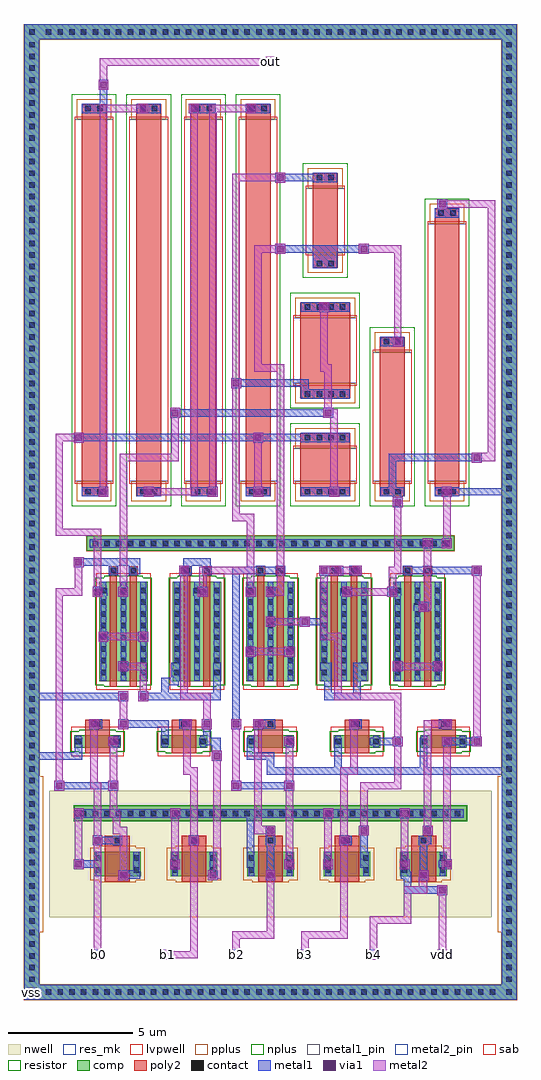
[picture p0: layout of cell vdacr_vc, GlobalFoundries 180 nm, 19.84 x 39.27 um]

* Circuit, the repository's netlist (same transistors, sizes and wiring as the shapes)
* NGSPICE file created from vdacr_vc.ext - technology: gf180mcuD

.subckt r_w2_l1p315 a_n200_n254# a_n200_132# VSUBS
X0 a_n200_132# a_n200_n254# VSUBS ppolyf_u_1k r_width=2u r_length=1.32u
.ends

.subckt r_w2_l2p625 a_n200_n385# a_n200_263# VSUBS
X0 a_n200_263# a_n200_n385# VSUBS ppolyf_u_1k r_width=2u r_length=2.63u
.ends

.subckt r_w1_l5p175 a_n100_518# a_n100_n640# VSUBS
X0 a_n100_518# a_n100_n640# VSUBS ppolyf_u_1k r_width=1u r_length=5.18u
.ends

.subckt r_w1_l2p59 a_n100_n381# a_n100_259# VSUBS
X0 a_n100_259# a_n100_n381# VSUBS ppolyf_u_1k r_width=1u r_length=2.59u
.ends

.subckt r_w1_l10p35 a_n100_n1157# a_n100_1035# VSUBS
X0 a_n100_1035# a_n100_n1157# VSUBS ppolyf_u_1k r_width=1u r_length=10.35u
.ends

.subckt n_w0p5_l1 a_100_n50# a_n100_n94# a_n188_n50# VSUBS
X0 a_100_n50# a_n100_n94# a_n188_n50# VSUBS nfet_03v3 ad=0.22p pd=1.88u as=0.22p ps=1.88u w=0.5u l=1u
.ends

.subckt p_w1_l1 a_n188_n100# a_100_n100# a_n100_n144# w_n274_n230#
X0 a_100_n100# a_n100_n144# a_n188_n100# w_n274_n230# pfet_03v3 ad=0.44p pd=2.88u as=0.44p ps=2.88u w=1u l=1u
.ends

.subckt r_w1_l12p86 a_n100_n1408# a_n100_1286# VSUBS
X0 a_n100_1286# a_n100_n1408# VSUBS ppolyf_u_1k r_width=1u r_length=12.86u
.ends

.subckt n_w4_l0p28_f2 a_n52_n400# a_52_n444# a_108_n400# a_n108_n444# a_n196_n400#
+ VSUBS
X0 a_108_n400# a_52_n444# a_n52_n400# VSUBS nfet_03v3 ad=1.76p pd=8.88u as=1.04p ps=4.52u w=4u l=0.28u
X1 a_n52_n400# a_n108_n444# a_n196_n400# VSUBS nfet_03v3 ad=1.04p pd=4.52u as=1.76p ps=8.88u w=4u l=0.28u
.ends

.subckt vdacr_vc b0 b1 b2 b3 b4 vdd out vss
XXRS0 m1_756_2640# m1_596_3240# vss r_w2_l1p315
XXRS1 m1_1663_4920# m1_756_2640# vss r_w2_l2p625
XXRS3 m1_2382_2650# m1_2964_2640# vss r_w1_l5p175
XXRS2 m1_2382_2650# m1_1663_4920# vss r_w1_l2p59
XXRS4 vss m1_2964_2640# vss r_w1_l10p35
XIB4n a_3048_3416# b4 vss vss n_w0p5_l1
XIB3n a_2456_3416# b3 vss vss n_w0p5_l1
XIB4p vdd a_3048_3416# b4 vdd p_w1_l1
XIB2n a_1864_3416# b2 vss vss n_w0p5_l1
XIB3p vdd a_2456_3416# b3 vdd p_w1_l1
XIB2p vdd a_1864_3416# b2 vdd p_w1_l1
XIB1n a_1272_3416# b1 vss vss n_w0p5_l1
XIB0n a_680_3416# b0 vss vss n_w0p5_l1
XIB1p vdd a_1272_3416# b1 vdd p_w1_l1
XIB0p vdd a_680_3416# b0 vdd p_w1_l1
XXRB0 m1_240_4046# out vss r_w1_l12p86
XSW0 m1_756_2640# a_680_3416# m1_596_3240# a_680_3416# m1_596_3240# vss n_w4_l0p28_f2
XXRB1 m1_902_4048# m1_240_4046# vss r_w1_l12p86
XSW2 m1_2382_2650# a_1864_3416# m1_1663_4920# a_1864_3416# m1_1663_4920# vss n_w4_l0p28_f2
XSW1 m1_1663_4920# a_1272_3416# m1_756_2640# a_1272_3416# m1_756_2640# vss n_w4_l0p28_f2
XXRB3 m1_596_3240# m1_1342_4048# vss r_w1_l12p86
XXRB2 m1_1342_4048# m1_902_4048# vss r_w1_l12p86
XSW3 m1_2964_2640# a_2456_3416# m1_2382_2650# a_2456_3416# m1_2382_2650# vss n_w4_l0p28_f2
XSW4 vss a_3048_3416# m1_2964_2640# a_3048_3416# m1_2964_2640# vss n_w4_l0p28_f2
.ends

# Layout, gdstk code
import gdstk
lib = gdstk.Library(unit=1e-6, precision=1e-09)
def R(c, l, rs):  # rectangles x0, y0, x1, y1
    for r in rs: c.add(gdstk.rectangle(r[:2], r[2:], *l))
def A(c, l, x, y, w, h, nx, ny, dx, dy):  # array of equal rectangles
    R(c, l, [(x+i*dx, y+j*dy, x+i*dx+w, y+j*dy+h) for i in range(nx) for j in range(ny)])
nwell = (21, 0)
comp = (22, 0)
poly2 = (30, 0)
pplus = (31, 0)
nplus = (32, 0)
contact = (33, 0)
metal1 = (34, 0)
metal1_pin = (34, 10)
via1 = (35, 0)
metal2 = (36, 0)
metal2_pin = (36, 10)
sab = (49, 0)
resistor = (62, 0)
res_mk = (110, 5)
lvpwell = (204, 0)

p_w1_l1 = lib.new_cell('p_w1_l1')
R(p_w1_l1, nwell, [(-1.37,-1.15,1.37,1.15)])
R(p_w1_l1, comp, [(-0.94,-0.5,0.94,0.5)])
R(p_w1_l1, poly2, [(-0.5,-0.72,0.5,0.72)])
R(p_w1_l1, pplus, [(-0.73,-0.73,0.73,-0.66), (-1.1,-0.66,1.1,0.66), (-0.73,0.66,0.73,0.73)])
R(p_w1_l1, contact, [(-0.87,-0.345,-0.65,-0.125), (0.65,-0.345,0.87,-0.125), (-0.87,0.125,-0.65,0.345), (0.65,0.125,0.87,0.345)])
R(p_w1_l1, metal1, [(-0.875,-0.49,-0.645,0.49), (0.645,-0.49,0.875,0.49)])

n_w0p5_l1 = lib.new_cell('n_w0p5_l1')
R(n_w0p5_l1, comp, [(-0.94,-0.25,0.94,0.25)])
R(n_w0p5_l1, poly2, [(-0.5,-0.47,0.5,0.47)])
R(n_w0p5_l1, nplus, [(-0.73,-0.48,0.73,-0.41), (-1.1,-0.41,1.1,0.41), (-0.73,0.41,0.73,0.48)])
R(n_w0p5_l1, contact, [(-0.87,-0.11,-0.65,0.11), (0.65,-0.11,0.87,0.11)])
R(n_w0p5_l1, metal1, [(-0.875,-0.24,-0.645,0.24), (0.645,-0.24,0.875,0.24)])
R(n_w0p5_l1, lvpwell, [(-1.06,-0.59,1.06,0.59)])

n_w4_l0p28_f2 = lib.new_cell('n_w4_l0p28_f2')
R(n_w4_l0p28_f2, comp, [(-0.98,-2,0.98,2)])
R(n_w4_l0p28_f2, poly2, [(-0.54,-2.22,-0.26,2.22), (0.26,-2.22,0.54,2.22)])
R(n_w4_l0p28_f2, nplus, [(-0.77,-2.23,0.77,-2.16), (-1.14,-2.16,1.14,2.16), (-0.77,2.16,0.77,2.23)])
A(n_w4_l0p28_f2, contact, -0.91, -1.755, 0.22, 0.22, 3, 8, 0.8, 0.47)
A(n_w4_l0p28_f2, metal1, -0.915, -1.99, 0.23, 3.98, 3, 1, 0.8, 0)
R(n_w4_l0p28_f2, lvpwell, [(-1.1,-2.34,1.1,2.34)])

r_w1_l14p555 = lib.new_cell('r_w1_l14p555')
R(r_w1_l14p555, poly2, [(-0.5,-7.89,0.5,7.89)])
R(r_w1_l14p555, pplus, [(-0.7,-8.09,0.7,-7.28), (-0.7,7.28,0.7,8.09)])
R(r_w1_l14p555, contact, [(-0.345,-7.82,-0.125,-7.6), (0.125,-7.82,0.345,-7.6), (-0.345,7.6,-0.125,7.82), (0.125,7.6,0.345,7.82)])
R(r_w1_l14p555, metal1, [(-0.49,-7.825,0.49,-7.595), (-0.49,7.595,0.49,7.825)])
R(r_w1_l14p555, sab, [(-0.78,-7.38,0.78,7.38), (-0.78,-7.28,0.78,7.28)])
R(r_w1_l14p555, resistor, [(-0.9,-8.29,0.9,8.29)])
R(r_w1_l14p555, res_mk, [(-0.78,-7.28,0.78,7.28), (-0.5,-7.28,0.5,7.28)])

r_w2_l1p315 = lib.new_cell('r_w2_l1p315')
R(r_w2_l1p315, poly2, [(-1,-1.27,1,1.27)])
R(r_w2_l1p315, pplus, [(-1.2,-1.47,1.2,-0.66), (-1.2,0.66,1.2,1.47)])
A(r_w2_l1p315, contact, -0.815, -1.2, 0.22, 0.22, 4, 2, 0.47, 2.18)
R(r_w2_l1p315, metal1, [(-0.99,-1.205,0.99,-0.975), (-0.99,0.975,0.99,1.205)])
R(r_w2_l1p315, sab, [(-1.28,-0.76,1.28,0.76), (-1.28,-0.66,1.28,0.66)])
R(r_w2_l1p315, resistor, [(-1.4,-1.67,1.4,1.67)])
R(r_w2_l1p315, res_mk, [(-1.28,-0.66,1.28,0.66), (-1,-0.66,1,0.66)])

r_w2_l2p625 = lib.new_cell('r_w2_l2p625')
R(r_w2_l2p625, poly2, [(-1,-1.925,1,1.925)])
R(r_w2_l2p625, pplus, [(-1.2,-2.125,1.2,-1.315), (-1.2,1.315,1.2,2.125)])
A(r_w2_l2p625, contact, -0.815, -1.855, 0.22, 0.22, 4, 2, 0.47, 3.49)
R(r_w2_l2p625, metal1, [(-0.99,-1.86,0.99,-1.63), (-0.99,1.63,0.99,1.86)])
R(r_w2_l2p625, sab, [(-1.28,-1.415,1.28,1.415), (-1.28,-1.315,1.28,1.315)])
R(r_w2_l2p625, resistor, [(-1.4,-2.325,1.4,2.325)])
R(r_w2_l2p625, res_mk, [(-1.28,-1.315,1.28,1.315), (-1,-1.315,1,1.315)])

r_w1_l2p59 = lib.new_cell('r_w1_l2p59')
R(r_w1_l2p59, poly2, [(-0.5,-1.905,0.5,1.905)])
R(r_w1_l2p59, pplus, [(-0.7,-2.105,0.7,-1.295), (-0.7,1.295,0.7,2.105)])
R(r_w1_l2p59, contact, [(-0.345,-1.835,-0.125,-1.615), (0.125,-1.835,0.345,-1.615), (-0.345,1.615,-0.125,1.835), (0.125,1.615,0.345,1.835)])
R(r_w1_l2p59, metal1, [(-0.49,-1.84,0.49,-1.61), (-0.49,1.61,0.49,1.84)])
R(r_w1_l2p59, sab, [(-0.78,-1.395,0.78,1.395), (-0.78,-1.295,0.78,1.295)])
R(r_w1_l2p59, resistor, [(-0.9,-2.305,0.9,2.305)])
R(r_w1_l2p59, res_mk, [(-0.78,-1.295,0.78,1.295), (-0.5,-1.295,0.5,1.295)])

r_w1_l5p175 = lib.new_cell('r_w1_l5p175')
R(r_w1_l5p175, poly2, [(-0.5,-3.2,0.5,3.2)])
R(r_w1_l5p175, pplus, [(-0.7,-3.4,0.7,-2.59), (-0.7,2.59,0.7,3.4)])
R(r_w1_l5p175, contact, [(-0.345,-3.13,-0.125,-2.91), (0.125,-3.13,0.345,-2.91), (-0.345,2.91,-0.125,3.13), (0.125,2.91,0.345,3.13)])
R(r_w1_l5p175, metal1, [(-0.49,-3.135,0.49,-2.905), (-0.49,2.905,0.49,3.135)])
R(r_w1_l5p175, sab, [(-0.78,-2.69,0.78,2.69), (-0.78,-2.59,0.78,2.59)])
R(r_w1_l5p175, resistor, [(-0.9,-3.6,0.9,3.6)])
R(r_w1_l5p175, res_mk, [(-0.78,-2.59,0.78,2.59), (-0.5,-2.59,0.5,2.59)])

r_w1_l10p35 = lib.new_cell('r_w1_l10p35')
R(r_w1_l10p35, poly2, [(-0.5,-5.785,0.5,5.785)])
R(r_w1_l10p35, pplus, [(-0.7,-5.985,0.7,-5.175), (-0.7,5.175,0.7,5.985)])
R(r_w1_l10p35, contact, [(-0.345,-5.715,-0.125,-5.495), (0.125,-5.715,0.345,-5.495), (-0.345,5.495,-0.125,5.715), (0.125,5.495,0.345,5.715)])
R(r_w1_l10p35, metal1, [(-0.49,-5.72,0.49,-5.49), (-0.49,5.49,0.49,5.72)])
R(r_w1_l10p35, sab, [(-0.78,-5.275,0.78,5.275), (-0.78,-5.175,0.78,5.175)])
R(r_w1_l10p35, resistor, [(-0.9,-6.185,0.9,6.185)])
R(r_w1_l10p35, res_mk, [(-0.78,-5.175,0.78,5.175), (-0.5,-5.175,0.5,5.175)])

vdacr_vc = lib.new_cell('vdacr_vc')
R(vdacr_vc, nwell, [(1,3.3,18.8,8.39)])
R(vdacr_vc, comp, [(0,0,19.8,0.6), (0,0.6,0.6,38.63), (19.2,0.6,19.8,38.63), (2,7.19,17.8,7.79), (2.5,18.05,17.3,18.65), (0,38.63,19.8,39.23)])
A(vdacr_vc, poly2, 3.24, 5.95, 1, 0.63, 5, 1, 3.08, 0)
A(vdacr_vc, poly2, 2.44, 10.63, 1, 0.63, 5, 1, 3.48, 0)
R(vdacr_vc, poly2, [(3.44,16.81,3.72,17.08), (4.24,16.81,4.52,17.08), (6.4,16.81,6.68,17.08), (7.2,16.81,7.48,17.08), (9.36,16.81,9.64,17.08), (10.16,16.81,10.44,17.08), (12.32,16.81,12.6,17.08), (13.12,16.81,13.4,17.08), (15.28,16.81,15.56,17.08), (16.08,16.81,16.36,17.08), (3.4,17.08,3.76,17.44), (4.2,17.08,4.56,17.44), (6.36,17.08,6.72,17.44), (7.16,17.08,7.52,17.44), (9.32,17.08,9.68,17.44), (10.12,17.08,10.48,17.44), (12.28,17.08,12.64,17.44), (13.08,17.08,13.44,17.44), (15.24,17.08,15.6,17.44), (16.04,17.08,16.4,17.44)])
R(vdacr_vc, pplus, [(-0.02,-0.02,19.82,0.62), (-0.02,0.62,0.62,2.71), (19.18,0.62,19.82,2.71), (-0.02,2.71,0.76,8.98), (19.04,2.71,19.82,8.98), (-0.02,8.98,0.62,38.61), (19.18,8.98,19.82,38.61), (2.48,18.03,17.32,18.67), (-0.02,38.61,19.82,39.25)])
R(vdacr_vc, nplus, [(1.98,7.17,17.82,7.81)])
A(vdacr_vc, contact, 0.86, 0.19, 0.22, 0.22, 39, 2, 0.47, 38.63)
A(vdacr_vc, contact, 0.19, 0.705, 0.22, 0.22, 1, 81, 0, 0.47)
A(vdacr_vc, contact, 19.39, 0.705, 0.22, 0.22, 1, 81, 0, 0.47)
A(vdacr_vc, contact, 3.63, 6.29, 0.22, 0.22, 5, 1, 3.08, 0)
A(vdacr_vc, contact, 2.27, 7.38, 0.22, 0.22, 33, 1, 0.47, 0)
A(vdacr_vc, contact, 2.83, 10.97, 0.22, 0.22, 5, 1, 3.48, 0)
A(vdacr_vc, contact, 2.74, 18.24, 0.22, 0.22, 31, 1, 0.47, 0)
R(vdacr_vc, contact, [(0.19,0.19,0.41,0.41), (19.39,0.19,19.61,0.41), (3.47,17.15,3.69,17.37), (4.27,17.15,4.49,17.37), (6.43,17.15,6.65,17.37), (7.23,17.15,7.45,17.37), (9.39,17.15,9.61,17.37), (10.19,17.15,10.41,17.37), (12.35,17.15,12.57,17.37), (13.15,17.15,13.37,17.37), (15.31,17.15,15.53,17.37), (16.11,17.15,16.33,17.37), (0.19,38.82,0.41,39.04), (19.39,38.82,19.61,39.04)])
R(vdacr_vc, metal1, [(0,0,19.8,0.6), (0,0.6,0.6,9.65), (19.2,0.6,19.8,9.05), (16.615,4.2,17.015,4.25), (15.27,4.25,17.015,4.55), (15.27,4.55,15.57,4.85), (16.615,4.55,17.015,4.6), (3.78,4.8,4.18,4.85), (7.38,4.8,7.78,5.2), (9.7,4.8,10.1,5.2), (15.86,4.8,16.26,5.2), (3.78,4.85,4.65,5.15), (15.15,4.85,15.57,5.15), (3.78,5.15,4.385,5.2), (15.15,5.15,15.185,5.25), (15.415,5.15,15.5,5.25), (9.75,5.2,10.05,6.21), (15.91,5.2,16.21,6.21), (1.98,5.25,2.38,5.3), (5.86,5.25,6.26,5.65), (10.46,5.25,10.86,5.65), (12.02,5.25,12.42,5.65), (15.1,5.25,15.5,5.65), (16.8,5.25,17.2,5.3), (1.98,5.3,3.09,5.6), (8.95,5.3,9.25,7.32), (13.51,5.3,13.81,6.6), (16.665,5.3,17.2,5.6), (1.98,5.6,2.38,5.65), (16.8,5.6,17.2,5.65), (2.74,6.2,3.14,6.25), (6.62,6.2,7.02,6.6), (12.66,6.2,13.06,6.21), (3.55,6.21,3.93,6.25), (9.71,6.21,10.09,6.6), (12.66,6.21,13.17,6.59), (15.87,6.21,16.25,6.25), (2.74,6.25,3.93,6.55), (15.87,6.25,16.37,6.59), (2.74,6.55,3.14,6.6), (3.55,6.55,3.93,6.59), (12.66,6.59,13.06,6.6), (16.02,6.59,16.37,6.6), (9.7,6.6,10.1,7), (13.46,6.6,13.86,7), (16.02,6.6,16.42,7), (1.98,7.29,2.38,7.32), (5.86,7.29,6.26,7.32), (12.02,7.29,12.42,7.32), (15.1,7.29,15.5,7.32), (1.98,7.32,17.67,7.66), (1.98,7.66,2.38,7.69), (5.86,7.66,6.26,7.69), (12.02,7.66,12.42,7.69), (15.1,7.66,15.5,7.69), (1.2,8.4,1.6,8.45), (3.38,8.4,3.78,8.45), (8.315,8.4,8.715,8.45), (10.46,8.4,10.86,8.45), (1.2,8.45,3.78,8.75), (8.315,8.45,10.86,8.75), (1.2,8.75,1.6,8.8), (3.38,8.75,3.78,8.8), (8.315,8.75,8.715,8.8), (10.46,8.75,10.86,8.8), (9.75,9.05,19.8,9.35), (9.75,9.35,10.05,9.65), (12.47,9.35,12.77,10.53), (15.91,9.35,16.21,10.53), (19.2,9.35,19.8,20.28), (7.54,9.6,7.94,10), (0,9.65,2.33,9.95), (8.95,9.65,10.05,9.95), (0,9.95,0.6,12.05), (2.03,9.95,2.33,10.53), (8.95,9.95,9.255,10.14), (7.54,10,7.89,10.23), (8.95,10.14,9.25,10.53), (3.38,10.18,3.78,10.23), (10.46,10.18,10.86,10.58), (14.82,10.18,15.22,10.23), (16.8,10.18,17.2,10.23), (18,10.18,18.4,10.23), (3.38,10.23,3.85,10.53), (5.51,10.23,5.81,10.93), (7.03,10.23,7.89,10.53), (13.9,10.23,15.22,10.53), (16.8,10.23,18.4,10.53), (3.38,10.53,3.78,10.58), (7.19,10.53,7.49,10.88), (14.82,10.53,15.22,10.58), (16.8,10.53,17.2,10.58), (18,10.53,18.4,10.58), (2.6,10.88,3,10.89), (3.78,10.88,4.18,10.93), (6.34,10.88,6.74,10.89), (7.14,10.88,7.54,11.28), (8.315,10.88,8.715,11.28), (9.2,10.88,9.6,10.89), (13.06,10.88,13.46,10.89), (16.8,10.88,17.2,10.89), (2.6,10.89,3.13,11.27), (6.23,10.89,6.74,11.27), (9.2,10.89,10.09,11.27), (13.06,10.89,13.57,11.27), (16.67,10.89,17.2,11.27), (3.78,10.93,5.81,11.23), (3.78,11.23,4.18,11.28), (2.6,11.27,3,11.28), (6.34,11.27,6.74,11.28), (9.2,11.27,9.6,11.28), (13.06,11.27,13.46,11.28), (16.8,11.27,17.2,11.28), (8.365,11.28,8.665,17.11), (3.78,12,4.18,12.05), (4.58,12,4.98,12.05), (0,12.05,4.18,12.35), (4.58,12.05,7.89,12.35), (12.07,12.05,13.53,12.35), (0,12.35,0.6,38.63), (3.78,12.35,4.18,12.4), (4.58,12.35,4.98,12.4), (5.51,12.35,5.81,12.65), (7.59,12.35,7.89,13.55), (12.07,12.35,12.37,13.25), (13.23,12.35,13.53,12.82), (5.51,12.65,6.21,12.95), (13.23,12.82,13.545,13.25), (5.91,12.95,6.21,13.55), (3.78,13.2,4.18,13.6), (14.82,13.2,15.22,13.6), (16.42,13.2,16.82,13.6), (11.91,13.25,12.37,13.55), (13.23,13.25,13.81,13.55), (8.9,13.8,9.3,14.2), (10.46,13.8,10.86,14.2), (2.98,14.4,3.38,14.8), (4.58,14.4,4.98,14.8), (9.7,15,10.1,15.4), (11.085,15,11.485,15.05), (11.085,15.05,12.21,15.35), (11.085,15.35,11.485,15.4), (15.86,15.6,16.26,15.65), (15.67,15.65,16.26,15.95), (15.86,15.95,16.26,16), (2.74,16.2,3.14,16.25), (3.78,16.2,4.18,16.6), (6.98,16.2,7.38,16.25), (8.9,16.2,9.3,16.6), (9.7,16.2,10.1,16.6), (12.78,16.2,13.18,16.25), (14.6,16.2,15,16.25), (2.74,16.25,3.33,16.55), (6.79,16.25,7.38,16.55), (12.71,16.25,13.18,16.55), (14.6,16.25,15.17,16.55), (2.74,16.55,3.14,16.6), (6.98,16.55,7.38,16.6), (12.78,16.55,13.18,16.6), (14.6,16.55,15,16.6), (6.22,17.06,6.62,17.07), (11.86,17.06,12.82,17.46), (13.18,17.06,13.58,17.07), (18,17.06,18.4,17.11), (3.39,17.07,3.77,17.45), (4.19,17.07,4.57,17.11), (6.22,17.07,6.73,17.45), (7.15,17.07,7.53,17.45), (9.31,17.07,9.69,17.11), (10.11,17.07,10.49,17.11), (13.07,17.07,13.58,17.45), (15.23,17.07,15.61,17.11), (16.03,17.07,16.41,17.11), (4.19,17.11,4.65,17.45), (8.365,17.11,10.49,17.41), (15.23,17.11,18.4,17.41), (1.98,17.4,2.38,17.45), (9.31,17.41,9.69,17.45), (10.11,17.41,10.49,17.45), (15.23,17.41,15.61,17.45), (16.03,17.41,16.41,17.45), (18,17.41,18.4,17.46), (1.98,17.45,4.65,17.75), (6.22,17.45,7.49,17.46), (13.18,17.45,13.58,17.46), (6.39,17.46,7.49,17.75), (1.98,17.75,2.38,17.8), (16.02,18.15,16.42,18.18), (16.8,18.15,17.2,18.18), (2.63,18.18,17.2,18.52), (16.02,18.52,16.42,18.55), (16.8,18.52,17.2,18.55), (14.82,19.8,15.22,20.24), (2.98,20.23,3.38,20.24), (4.8,20.23,5.2,20.24), (7.38,20.23,7.78,20.24), (9.2,20.23,9.6,20.24), (12.26,20.23,12.66,20.24), (16.8,20.23,17.2,20.24), (2.31,20.24,3.38,20.62), (4.51,20.24,5.49,20.62), (6.71,20.24,7.78,20.62), (8.91,20.24,9.89,20.62), (11.11,20.24,13.09,20.62), (14.31,20.24,15.29,20.62), (16.51,20.24,17.49,20.28), (16.51,20.28,19.8,20.58), (16.51,20.58,17.49,20.62), (19.2,20.58,19.8,38.63), (2.98,20.62,3.38,20.63), (4.8,20.62,5.2,20.63), (7.38,20.62,7.78,20.63), (9.2,20.62,9.6,20.63), (12.26,20.62,12.66,20.63), (14.65,20.62,14.95,21.65), (16.8,20.62,17.2,20.63), (18,21.6,18.4,21.65), (14.65,21.65,18.4,21.95), (18,21.95,18.4,22), (1.98,22.41,2.38,22.46), (9.2,22.41,9.6,22.46), (11.11,22.42,13.09,22.46), (1.98,22.46,13.09,22.76), (1.98,22.76,2.38,22.81), (9.2,22.76,9.6,22.81), (11.11,22.76,13.09,22.8), (5.86,23.4,6.26,23.45), (12.02,23.4,12.42,23.45), (5.86,23.45,12.42,23.75), (5.86,23.75,6.26,23.8), (12.02,23.75,12.42,23.8), (11.11,24.18,13.09,24.56), (11.11,24.56,11.435,24.65), (8.315,24.6,8.715,24.65), (8.315,24.65,11.435,24.95), (8.315,24.95,8.715,25), (14.82,26.27,15.22,26.28), (14.31,26.28,15.29,26.66), (14.82,26.66,15.22,26.67), (11.86,27.66,12.26,27.67), (11.11,27.67,13.09,28.05), (11.86,28.05,12.26,28.06), (11.61,29.43,12.59,30.05), (10.1,30,10.5,30.05), (13.46,30,13.86,30.05), (10.1,30.05,13.86,30.35), (10.1,30.35,10.5,30.4), (13.46,30.35,13.86,30.4), (16.51,31.45,17.49,31.83), (16.615,31.83,17.015,32.2), (10.1,32.87,10.5,32.92), (11.61,32.88,12.59,32.92), (10.1,32.92,12.59,33.22), (10.1,33.22,10.5,33.27), (11.61,33.22,12.59,33.26), (4.58,35.65,4.98,35.66), (6.62,35.65,7.02,35.66), (8.9,35.65,9.3,35.66), (2.31,35.66,3.29,35.7), (4.51,35.66,5.49,36.04), (6.62,35.66,7.69,36.04), (8.9,35.66,9.89,36.04), (2.31,35.7,3.33,36.04), (3.03,36.04,3.33,36.6), (4.58,36.04,4.98,36.05), (6.62,36.04,7.02,36.05), (8.9,36.04,9.3,36.05), (2.98,36.6,3.38,37), (0,38.63,19.8,39.23)])
R(vdacr_vc, metal1_pin, [(0.1,0.1,0.5,0.5)])
R(vdacr_vc, via1, [(16.685,4.27,16.945,4.53), (3.85,4.87,4.11,5.13), (7.45,4.87,7.71,5.13), (9.77,4.87,10.03,5.13), (15.93,4.87,16.19,5.13), (2.05,5.32,2.31,5.58), (5.93,5.32,6.19,5.58), (10.53,5.32,10.79,5.58), (12.09,5.32,12.35,5.58), (15.17,5.32,15.43,5.58), (16.87,5.32,17.13,5.58), (2.81,6.27,3.07,6.53), (6.69,6.27,6.95,6.53), (12.73,6.27,12.99,6.53), (9.77,6.67,10.03,6.93), (13.53,6.67,13.79,6.93), (16.09,6.67,16.35,6.93), (2.05,7.36,2.31,7.62), (5.93,7.36,6.19,7.62), (12.09,7.36,12.35,7.62), (15.17,7.36,15.43,7.62), (1.27,8.47,1.53,8.73), (3.45,8.47,3.71,8.73), (8.385,8.47,8.645,8.73), (10.53,8.47,10.79,8.73), (7.61,9.67,7.87,9.93), (3.45,10.25,3.71,10.51), (10.53,10.25,10.79,10.51), (14.89,10.25,15.15,10.51), (16.87,10.25,17.13,10.51), (18.07,10.25,18.33,10.51), (2.67,10.95,2.93,11.21), (3.85,10.95,4.11,11.21), (6.41,10.95,6.67,11.21), (7.21,10.95,7.47,11.21), (8.385,10.95,8.645,11.21), (9.27,10.95,9.53,11.21), (13.13,10.95,13.39,11.21), (16.87,10.95,17.13,11.21), (3.85,12.07,4.11,12.33), (4.65,12.07,4.91,12.33), (3.85,13.27,4.11,13.53), (14.89,13.27,15.15,13.53), (16.49,13.27,16.75,13.53), (8.97,13.87,9.23,14.13), (10.53,13.87,10.79,14.13), (3.05,14.47,3.31,14.73), (4.65,14.47,4.91,14.73), (9.77,15.07,10.03,15.33), (11.155,15.07,11.415,15.33), (15.93,15.67,16.19,15.93), (2.81,16.27,3.07,16.53), (3.85,16.27,4.11,16.53), (7.05,16.27,7.31,16.53), (8.97,16.27,9.23,16.53), (9.77,16.27,10.03,16.53), (12.85,16.27,13.11,16.53), (14.67,16.27,14.93,16.53), (6.29,17.13,6.55,17.39), (11.93,17.13,12.19,17.39), (12.49,17.13,12.75,17.39), (13.25,17.13,13.51,17.39), (18.07,17.13,18.33,17.39), (2.05,17.47,2.31,17.73), (16.09,18.22,16.35,18.48), (16.87,18.22,17.13,18.48), (14.89,19.87,15.15,20.13), (3.05,20.3,3.31,20.56), (4.87,20.3,5.13,20.56), (7.45,20.3,7.71,20.56), (9.27,20.3,9.53,20.56), (12.33,20.3,12.59,20.56), (16.87,20.3,17.13,20.56), (18.07,21.67,18.33,21.93), (2.05,22.48,2.31,22.74), (9.27,22.48,9.53,22.74), (5.93,23.47,6.19,23.73), (12.09,23.47,12.35,23.73), (8.385,24.67,8.645,24.93), (14.89,26.34,15.15,26.6), (11.93,27.73,12.19,27.99), (10.17,30.07,10.43,30.33), (13.53,30.07,13.79,30.33), (16.685,31.87,16.945,32.13), (10.17,32.94,10.43,33.2), (4.65,35.72,4.91,35.98), (6.69,35.72,6.95,35.98), (8.97,35.72,9.23,35.98), (3.05,36.67,3.31,36.93)])
A(vdacr_vc, metal2, 11.085, 1.6, 0.4, 0.4, 3, 1, 2.765, 0)
R(vdacr_vc, metal2, [(2.785,1.6,3.185,2), (5.55,1.6,5.95,1.65), (8.315,1.6,8.715,2), (5.51,1.65,6.97,1.95), (5.55,1.95,5.95,2), (6.67,1.95,6.97,6.2), (2.79,2,3.09,6.2), (8.365,2,8.665,2.45), (11.135,2,11.435,2.45), (13.9,2,14.2,3.05), (16.665,2,16.965,4.2), (8.365,2.45,10.05,2.75), (11.135,2.45,13.01,2.75), (9.75,2.75,10.05,4.8), (12.71,2.75,13.01,6.2), (13.9,3.05,15.57,3.35), (15.27,3.35,15.57,4.25), (16.615,4.2,17.015,4.6), (15.27,4.25,16.21,4.55), (15.86,4.55,16.21,4.8), (3.78,4.8,4.18,5.2), (7.38,4.8,7.78,4.85), (9.7,4.8,10.1,5.2), (15.86,4.8,16.26,5.2), (7.38,4.85,7.89,5.2), (3.83,5.2,4.13,6.65), (7.59,5.2,7.89,9.6), (1.98,5.25,2.38,5.65), (5.86,5.25,6.26,5.65), (10.46,5.25,10.86,5.65), (12.02,5.25,12.42,5.65), (15.1,5.25,15.5,5.65), (16.8,5.25,17.2,5.65), (2.03,5.65,2.33,7.29), (5.91,5.65,6.21,7.29), (10.51,5.65,10.81,8.4), (12.07,5.65,12.37,7.29), (15.15,5.65,15.45,7.29), (16.85,5.65,17.15,10.18), (2.74,6.2,3.14,6.6), (6.62,6.2,7.02,6.6), (12.66,6.2,13.06,6.6), (2.79,6.6,3.09,8.45), (6.67,6.6,6.97,9.05), (9.7,6.6,10.1,6.65), (12.71,6.6,13.01,9.05), (13.46,6.6,13.86,7), (16.02,6.6,16.42,7), (3.55,6.65,4.13,6.95), (9.25,6.65,10.1,7), (3.55,6.95,3.85,7.34), (9.25,7,9.55,10.88), (13.51,7,13.81,8.45), (16.07,7,16.37,10.93), (1.98,7.29,2.38,7.69), (5.86,7.29,6.26,7.69), (12.02,7.29,12.42,7.69), (15.1,7.29,15.5,7.69), (3.43,7.34,3.85,7.64), (3.43,7.64,3.73,8.4), (1.2,8.4,1.6,8.8), (3.38,8.4,3.78,8.8), (8.315,8.4,8.715,8.8), (10.46,8.4,10.86,8.8), (2.65,8.45,3.09,8.75), (13.51,8.45,15.17,8.75), (2.65,8.75,2.95,10.88), (14.87,8.75,15.17,10.18), (1.25,8.8,1.55,16.25), (3.43,8.8,3.73,10.18), (8.365,8.8,8.665,10.88), (10.51,8.8,10.81,10.18), (6.39,9.05,6.97,9.35), (12.71,9.05,13.41,9.35), (6.39,9.35,6.69,10.88), (13.11,9.35,13.41,10.88), (7.54,9.6,7.94,10), (3.38,10.18,3.78,10.58), (10.46,10.18,10.86,10.58), (14.82,10.18,15.22,10.58), (16.8,10.18,17.2,10.58), (18,10.18,18.4,10.58), (14.87,10.58,15.17,12.05), (18.05,10.58,18.35,17.06), (2.6,10.88,3,11.28), (3.78,10.88,4.18,11.28), (6.34,10.88,6.74,11.28), (7.14,10.88,7.54,11.28), (8.315,10.88,8.715,11.28), (9.2,10.88,9.6,11.28), (13.06,10.88,13.46,11.28), (16.8,10.88,17.2,10.93), (16.07,10.93,17.2,11.23), (16.8,11.23,17.2,11.28), (3.83,11.28,4.13,12), (7.19,11.28,7.49,12.05), (3.78,12,4.18,12.4), (4.58,12,4.98,12.4), (6.27,12.05,7.49,12.35), (12.47,12.05,15.17,12.35), (6.27,12.35,6.57,17.06), (12.47,12.35,12.77,14.45), (4.63,12.4,4.93,13.25), (3.78,13.2,4.18,13.25), (14.82,13.2,15.22,13.25), (16.42,13.2,16.82,13.25), (3.78,13.25,4.93,13.55), (14.82,13.25,16.82,13.55), (3.78,13.55,4.18,13.6), (14.82,13.55,15.22,13.6), (16.42,13.55,16.82,13.6), (8.9,13.8,9.3,13.85), (10.46,13.8,10.86,13.85), (8.9,13.85,10.86,14.15), (8.9,14.15,9.3,14.2), (10.46,14.15,10.86,14.2), (2.98,14.4,3.38,14.45), (4.58,14.4,4.98,14.45), (2.98,14.45,4.98,14.75), (11.91,14.45,12.77,14.75), (2.98,14.75,3.38,14.8), (4.58,14.75,4.98,14.8), (11.91,14.75,12.21,17.06), (9.7,15,10.1,15.05), (11.085,15,11.485,15.05), (9.7,15.05,11.485,15.35), (9.7,15.35,10.1,15.4), (11.085,15.35,11.485,15.4), (15.86,15.6,16.26,15.65), (15.86,15.65,16.37,16), (16.07,16,16.37,18.15), (2.74,16.2,3.14,16.6), (3.78,16.2,4.18,16.6), (6.98,16.2,7.38,16.6), (8.9,16.2,9.3,16.6), (9.7,16.2,10.1,16.25), (12.78,16.2,13.18,16.25), (14.6,16.2,15,16.25), (1.25,16.25,2.33,16.55), (9.7,16.25,10.45,16.6), (12.78,16.25,15,16.55), (2.03,16.55,2.33,17.4), (12.78,16.55,13.18,16.6), (14.6,16.55,15,16.6), (2.79,16.6,3.09,18.65), (3.83,16.6,4.13,21.65), (7.03,16.6,7.33,17.11), (8.95,16.6,9.25,17.11), (10.15,16.6,10.45,25.25), (14.65,16.6,14.95,17.11), (6.22,17.06,6.62,17.46), (11.86,17.06,12.82,17.11), (13.18,17.06,13.58,17.11), (18,17.06,18.4,17.46), (7.03,17.11,9.25,17.41), (11.86,17.11,13.58,17.41), (14.65,17.11,15.17,17.41), (1.98,17.4,2.38,17.8), (8.95,17.41,9.25,19.25), (11.86,17.41,12.82,17.46), (13.18,17.41,13.58,17.46), (14.87,17.41,15.17,19.8), (16.02,18.15,16.42,18.55), (16.8,18.15,17.2,18.55), (16.85,18.55,17.15,20.23), (1.25,18.65,3.09,18.95), (1.25,18.95,1.55,22.46), (8.365,19.25,9.25,19.55), (8.365,19.55,8.665,24.6), (14.82,19.8,15.22,20.2), (2.98,20.23,3.38,20.63), (4.8,20.23,5.2,20.28), (7.38,20.23,7.78,20.63), (9.2,20.23,9.6,20.63), (12.26,20.23,12.66,20.63), (16.8,20.23,17.2,20.63), (4.8,20.28,6.97,20.58), (4.8,20.58,5.2,20.63), (6.67,20.58,6.97,35.65), (3.03,20.63,3.33,35.7), (7.43,20.63,7.73,35.7), (9.25,20.63,9.55,22.41), (12.31,20.63,12.61,23.4), (18,21.6,18.4,21.65), (3.83,21.65,6.21,21.95), (18,21.65,18.95,22), (5.91,21.95,6.21,23.4), (18.65,22,18.95,31.85), (1.98,22.41,2.38,22.46), (9.2,22.41,9.6,22.81), (1.25,22.46,2.38,22.76), (1.98,22.76,2.38,22.81), (5.86,23.4,6.26,23.8), (12.02,23.4,12.61,23.75), (12.02,23.75,12.42,23.8), (12.07,23.8,12.37,25.25), (8.315,24.6,8.715,25), (8.365,25,8.665,32.92), (9.25,25.25,10.45,25.55), (11.91,25.25,12.37,25.55), (9.25,25.55,9.55,30.05), (11.91,25.55,12.21,27.66), (14.82,26.27,15.22,26.67), (14.87,26.67,15.17,30.05), (11.86,27.66,12.26,28.06), (10.1,30,10.5,30.05), (13.46,30,13.86,30.05), (9.25,30.05,10.5,30.35), (13.46,30.05,15.17,30.35), (10.1,30.35,10.5,30.4), (13.46,30.35,13.86,30.4), (16.615,31.8,17.015,31.85), (16.615,31.85,18.95,32.15), (16.615,32.15,17.015,32.2), (10.1,32.87,10.5,32.92), (8.365,32.92,10.5,33.22), (10.1,33.22,10.5,33.27), (4.58,35.65,4.98,35.7), (6.62,35.65,7.02,36.05), (8.9,35.65,9.3,35.7), (3.03,35.7,4.98,36), (7.43,35.7,9.3,36), (4.58,36,4.98,36.05), (8.9,36,9.3,36.05), (2.98,36.6,3.38,37), (3.03,37,3.33,37.58), (9.7,37.53,10.1,37.58), (3.03,37.58,10.1,37.88), (9.7,37.88,10.1,37.93)])
A(vdacr_vc, metal2_pin, 2.785, 1.6, 0.4, 0.4, 3, 1, 2.765, 0)
A(vdacr_vc, metal2_pin, 11.085, 1.6, 0.4, 0.4, 3, 1, 2.765, 0)
R(vdacr_vc, metal2_pin, [(9.7,37.53,10.1,37.93)])
vdacr_vc.add(gdstk.Reference(p_w1_l1, (3.74,5.45)))
vdacr_vc.add(gdstk.Reference(n_w0p5_l1, (2.94,10.38)))
vdacr_vc.add(gdstk.Reference(n_w4_l0p28_f2, (3.98,14.81)))
vdacr_vc.add(gdstk.Reference(p_w1_l1, (6.82,5.45)))
vdacr_vc.add(gdstk.Reference(n_w0p5_l1, (6.42,10.38)))
vdacr_vc.add(gdstk.Reference(n_w4_l0p28_f2, (6.94,14.81)))
vdacr_vc.add(gdstk.Reference(p_w1_l1, (9.9,5.45)))
vdacr_vc.add(gdstk.Reference(n_w0p5_l1, (9.9,10.38)))
vdacr_vc.add(gdstk.Reference(n_w4_l0p28_f2, (9.9,14.81)))
vdacr_vc.add(gdstk.Reference(p_w1_l1, (12.98,5.45)))
vdacr_vc.add(gdstk.Reference(n_w0p5_l1, (13.38,10.38)))
vdacr_vc.add(gdstk.Reference(n_w4_l0p28_f2, (12.86,14.81)))
vdacr_vc.add(gdstk.Reference(p_w1_l1, (16.06,5.45)))
vdacr_vc.add(gdstk.Reference(n_w4_l0p28_f2, (15.82,14.81)))
vdacr_vc.add(gdstk.Reference(n_w0p5_l1, (16.86,10.38)))
vdacr_vc.add(gdstk.Reference(r_w1_l14p555, (2.8,28.14)))
vdacr_vc.add(gdstk.Reference(r_w1_l14p555, (5,28.14)))
vdacr_vc.add(gdstk.Reference(r_w1_l14p555, (7.2,28.14)))
vdacr_vc.add(gdstk.Reference(r_w1_l14p555, (9.4,28.14)))
vdacr_vc.add(gdstk.Reference(r_w2_l1p315, (12.1,21.52)))
vdacr_vc.add(gdstk.Reference(r_w2_l2p625, (12.1,26.115)))
vdacr_vc.add(gdstk.Reference(r_w1_l2p59, (12.1,31.345)))
vdacr_vc.add(gdstk.Reference(r_w1_l5p175, (14.8,23.45)))
vdacr_vc.add(gdstk.Reference(r_w1_l10p35, (17,26.035)))
vdacr_vc.add(gdstk.Label('b0', (2.985,1.8), layer=36, texttype=10))
vdacr_vc.add(gdstk.Label('b1', (5.75,1.8), layer=36, texttype=10))
vdacr_vc.add(gdstk.Label('b2', (8.515,1.8), layer=36, texttype=10))
vdacr_vc.add(gdstk.Label('b3', (11.285,1.8), layer=36, texttype=10))
vdacr_vc.add(gdstk.Label('b4', (14.05,1.8), layer=36, texttype=10))
vdacr_vc.add(gdstk.Label('vdd', (16.815,1.8), layer=36, texttype=10))
vdacr_vc.add(gdstk.Label('out', (9.9,37.73), layer=36, texttype=10))
vdacr_vc.add(gdstk.Label('vss', (0.3,0.3), layer=34, texttype=10))

lib.write_gds('vdacr_vc.gds')
